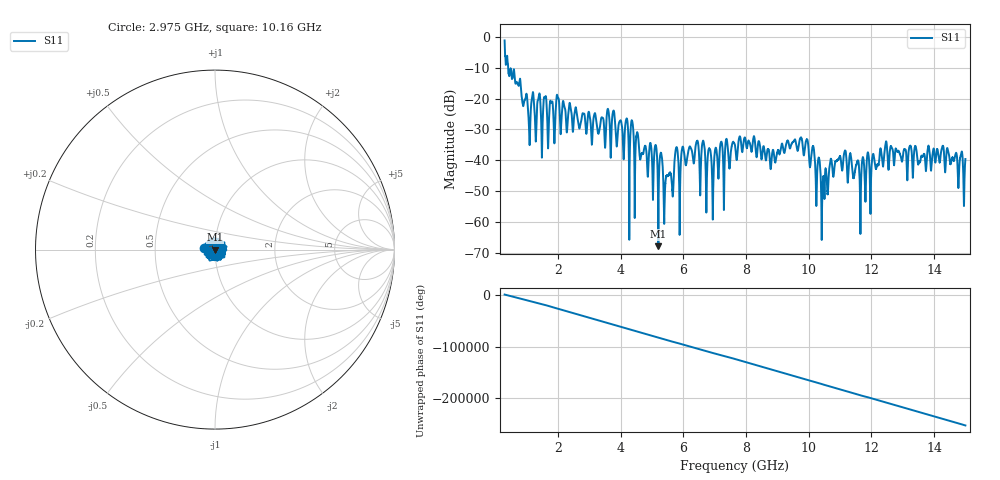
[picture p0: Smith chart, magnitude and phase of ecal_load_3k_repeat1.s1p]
# GHZ S RI R 50.0
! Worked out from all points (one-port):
!   12801 points, 300 MHz to 15 GHz, reference 50 ohm
!   lowest |S11| = -67.8 dB at 5.204 GHz (marker M1), VSWR 1.00, Z = 50 - j0.0209 ohm
!   |S11| at or under -10 dB: 412.7 MHz to end of sweep
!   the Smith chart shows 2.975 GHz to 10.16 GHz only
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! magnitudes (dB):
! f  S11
! 300 MHz  -1.2
! 1.086 GHz  -32.0
! 1.196 GHz  -18.1
! 2.138 GHz  -23.4
! 3.975 GHz  -27.3
! 5.204 GHz  -67.8
! 5.297 GHz  -37.7
! 5.434 GHz  -46.8
! 5.812 GHz  -36.6
! 5.893 GHz  -53.2
! 5.988 GHz  -35.6
! 6.435 GHz  -33.8
! 6.745 GHz  -50.6
! 6.84 GHz  -36.3
! 6.94 GHz  -58.5
! 7.204 GHz  -34.0
! 7.65 GHz  -35.1
! 8.833 GHz  -38.0
! 9.488 GHz  -34.1
! 10.14 GHz  -35.4
! 10.45 GHz  -47.2
! 10.71 GHz  -39.5
! 11.32 GHz  -37.8
! 11.64 GHz  -49.7
! 12.46 GHz  -34.4
! 13.16 GHz  -42.6
! 14.26 GHz  -35.9
! 15 GHz  -39.6
